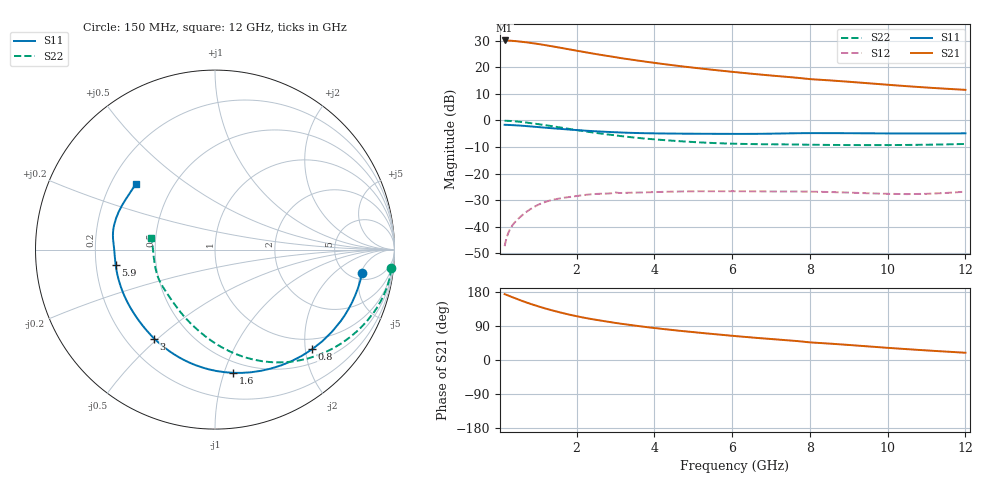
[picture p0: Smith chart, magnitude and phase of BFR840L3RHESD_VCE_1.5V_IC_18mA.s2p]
! Infineon Technologies  Discrete & RF Semiconductors
! BFR840L3RHESD
! VCE =  1.5 V,  IC =  18 mA
! Common Emitter S-Parameters:  Jun 2012
# GHz  S  MA  R  50
!  f  S11  S21  S12  S22
! GHz  MAG  ANG  MAG  ANG  MAG  ANG  MAG  ANG
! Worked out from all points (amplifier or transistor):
!   91 points, 150 MHz to 12 GHz, reference 50 ohm
!   highest |S21| = 30.1 dB at 150 MHz (marker M1)
!   |S21| within 3 dB of that: start of sweep to 1.679 GHz
!   unconditionally stable (mu >= 1): 7.545 GHz to end of sweep
!   at 1.3 GHz: K = 0.18, MSG = 29.2 dB, |S12| = -30.2 dB
!   at 4.3 GHz: K = 0.55, MSG = 24.0 dB, |S12| = -26.9 dB
!   at 12 GHz: K = 1.82, MAG = 13.9 dB, |S12| = -26.8 dB
!   S11 on the Smith chart (normalised r, x): 150 MHz: 6.19, -5.28; 800 MHz: 0.77, -2.14; 1.6 GHz: 0.40, -1.07; 3 GHz: 0.31, -0.49; 5.9 GHz: 0.28, -0.07; 12 GHz: 0.30, +0.33
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0.15  0.8299 -9.2  32.15 173.9  0.0043 84.2  0.9884 -6.1
0.3  0.8218 -18.1  31.8 167.8  0.0093 78.8  0.9792 -13.0
0.5  0.806 -29.6  30.88 159.8  0.0141 72.7  0.9522 -21.4
0.6  0.7965 -35.1  30.31 155.9  0.0164 69.5  0.9351 -25.4
0.8  0.7755 -45.7  29.05 148.7  0.0211 63.6  0.8972 -32.9
1  0.7535 -55.6  27.66 142.1  0.0256 58.7  0.8571 -40.0
1.2  0.7322 -64.9  26.21 135.9  0.0294 54.5  0.8161 -46.6
1.4  0.7124 -73.6  24.74 130.3  0.0322 50.7  0.7753 -52.8
1.6  0.6939 -81.7  23.31 125.0  0.0344 47.1  0.7353 -58.6
1.9  0.6682 -92.9  21.29 117.8  0.037 42.3  0.6787 -66.6
2.2  0.6452 -102.9  19.45 111.5  0.0395 38.4  0.6279 -73.7
2.6  0.6201 -114.3  17.33 104.4  0.0417 34.1  0.5707 -82.1
3  0.601 -124.4  15.58 97.8  0.0442 30.5  0.5257 -89.3
3.5  0.5824 -135.2  13.69 90.8  0.0439 27.6  0.4765 -98.2
4.2  0.5701 -147.6  11.66 82.1  0.0452 24.7  0.4301 -109.0
4.9  0.564 -158.4  10.08 74.6  0.0463 22.4  0.3972 -119.1
5.9  0.5599 -171.2  8.402 64.9  0.0466 20.3  0.3683 -132.3
6.1  0.5595 -173.5  8.12 63.0  0.0466 20.0  0.3648 -134.8
8  0.5785 166.4  6.013 46.5  0.0457 17.6  0.3495 -159.5
8.5  0.5782 162.5  5.701 43.3  0.045 17.4  0.3468 -163.8
10.5  0.5696 147.8  4.425 28.6  0.0411 24.5  0.3464 178.8
12  0.5733 140.5  3.776 19.1  0.0456 32.7  0.3617 169.8
